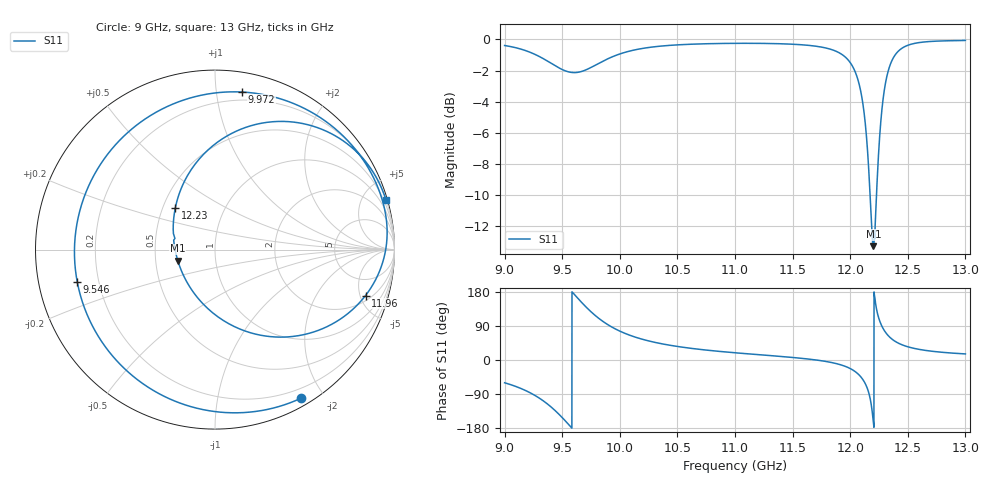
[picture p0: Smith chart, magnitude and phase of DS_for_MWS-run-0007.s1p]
! TOUCHSTONE file generated by CST DESIGN STUDIO
! Date and time: Tue Feb  4 17:09:43 2025
! Project name: C:\Work\MatlabApps\UnitCellOptimizationMatlab\CST\unitcell.cst
! Tree item: Tasks\Sweep1\SPara1\S-Parameters
! Header version: 2024
! Port assignment regex: !\s*Touchstone port\s*([0-9]+)\s*=\s*(CST MWS port|CST DES external port|CST DES block port)\s*(.+)\s* \(\"(.*)\"\)(\s*mode\s*([0-9]+))?.*
! Touchstone port assignment:
! Touchstone port 1 = CST DES external port 1 ("")
# GHz S MA R 50
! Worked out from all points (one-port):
!   4001 points, 9 GHz to 13 GHz, reference 50 ohm
!   lowest |S11| = -13.3 dB at 12.2 GHz (marker M1), VSWR 1.55, Z = 32.6 - j4.25 ohm
!   |S11| at or under -10 dB: 12.17255 GHz to 12.22828 GHz (55.73 MHz wide, 0.457 % of centre)
!   S11 on the Smith chart (normalised r, x): 9 GHz: 0.09, -1.73; 9.546 GHz: 0.12, -0.11; 9.972 GHz: 0.14, +1.18; 11.96 GHz: 2.52, -5.59; 12.23 GHz: 0.58, +0.30; 13 GHz: 0.19, +7.09
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9  0.9563 -60.1
9.148  0.9296 -76.0
9.298  0.8827 -100.0
9.401  0.8396 -123.3
9.5  0.8004 -151.9
9.546  0.7883 -166.9
9.644  0.785 160.0
9.761  0.8167 124.2
9.857  0.8528 101.1
9.972  0.8906 80.3
10  0.8982 76.2
10.217  0.9384 52.9
10.5  0.9608 35.7
11  0.9718 19.1
11.5  0.9654 6.7
11.774  0.9415 -3.1
11.959  0.8768 -17.0
12  0.8428 -22.5
12.069  0.7382 -37.0
12.128  0.5497 -60.7
12.164  0.3639 -89.7
12.201  0.2162 -163.3
12.229  0.3206 133.6
12.271  0.5729 91.9
12.315  0.7513 69.7
12.394  0.8959 48.5
12.5  0.9578 34.9
13  0.9927 16.0
